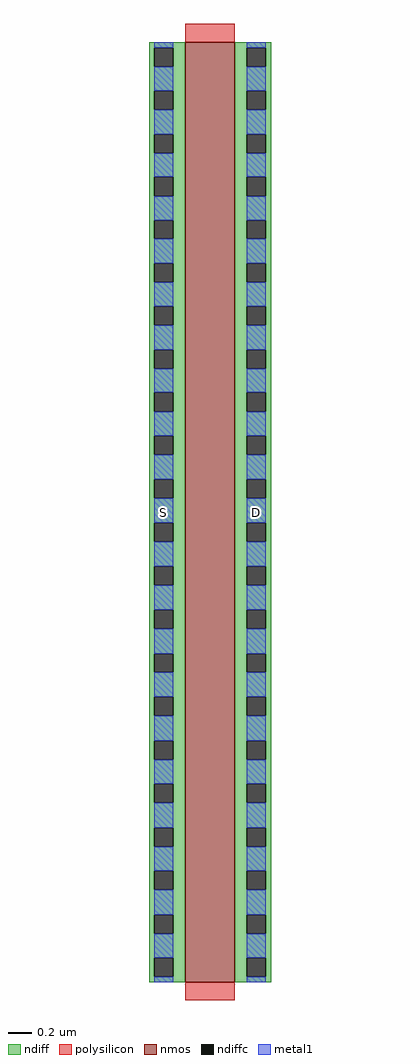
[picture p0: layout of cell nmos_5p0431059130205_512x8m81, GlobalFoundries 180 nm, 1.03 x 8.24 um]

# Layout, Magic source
magic
tech gf180mcuD
magscale 1 10
<< nmos >>
rect 0 0 84 1587
<< ndiff >>
rect -61 1578 0 1587
rect -61 1546 -52 1578
rect -20 1546 0 1578
rect -61 1505 0 1546
rect -61 1473 -52 1505
rect -20 1473 0 1505
rect -61 1432 0 1473
rect -61 1400 -52 1432
rect -20 1400 0 1432
rect -61 1360 0 1400
rect -61 1327 -52 1360
rect -20 1327 0 1360
rect -61 1287 0 1327
rect -61 1255 -52 1287
rect -20 1255 0 1287
rect -61 1214 0 1255
rect -61 1182 -52 1214
rect -20 1182 0 1214
rect -61 1141 0 1182
rect -61 1109 -52 1141
rect -20 1109 0 1141
rect -61 1068 0 1109
rect -61 1036 -52 1068
rect -20 1036 0 1068
rect -61 996 0 1036
rect -61 963 -52 996
rect -20 963 0 996
rect -61 923 0 963
rect -61 891 -52 923
rect -20 891 0 923
rect -61 849 0 891
rect -61 817 -52 849
rect -20 817 0 849
rect -61 776 0 817
rect -61 744 -52 776
rect -20 744 0 776
rect -61 702 0 744
rect -61 670 -52 702
rect -20 670 0 702
rect -61 629 0 670
rect -61 597 -52 629
rect -20 597 0 629
rect -61 555 0 597
rect -61 523 -52 555
rect -20 523 0 555
rect -61 482 0 523
rect -61 450 -52 482
rect -20 450 0 482
rect -61 408 0 450
rect -61 376 -52 408
rect -20 376 0 408
rect -61 335 0 376
rect -61 303 -52 335
rect -20 303 0 335
rect -61 261 0 303
rect -61 229 -52 261
rect -20 229 0 261
rect -61 188 0 229
rect -61 156 -52 188
rect -20 156 0 188
rect -61 114 0 156
rect -61 82 -52 114
rect -20 82 0 114
rect -61 41 0 82
rect -61 9 -52 41
rect -20 9 0 41
rect -61 0 0 9
rect 84 1578 145 1587
rect 84 1546 104 1578
rect 136 1546 145 1578
rect 84 1505 145 1546
rect 84 1473 104 1505
rect 136 1473 145 1505
rect 84 1432 145 1473
rect 84 1400 104 1432
rect 136 1400 145 1432
rect 84 1360 145 1400
rect 84 1327 104 1360
rect 136 1327 145 1360
rect 84 1287 145 1327
rect 84 1255 104 1287
rect 136 1255 145 1287
rect 84 1214 145 1255
rect 84 1182 104 1214
rect 136 1182 145 1214
rect 84 1141 145 1182
rect 84 1109 104 1141
rect 136 1109 145 1141
rect 84 1068 145 1109
rect 84 1036 104 1068
rect 136 1036 145 1068
rect 84 996 145 1036
rect 84 963 104 996
rect 136 963 145 996
rect 84 923 145 963
rect 84 891 104 923
rect 136 891 145 923
rect 84 849 145 891
rect 84 817 104 849
rect 136 817 145 849
rect 84 776 145 817
rect 84 744 104 776
rect 136 744 145 776
rect 84 702 145 744
rect 84 670 104 702
rect 136 670 145 702
rect 84 629 145 670
rect 84 597 104 629
rect 136 597 145 629
rect 84 555 145 597
rect 84 523 104 555
rect 136 523 145 555
rect 84 482 145 523
rect 84 450 104 482
rect 136 450 145 482
rect 84 408 145 450
rect 84 376 104 408
rect 136 376 145 408
rect 84 335 145 376
rect 84 303 104 335
rect 136 303 145 335
rect 84 261 145 303
rect 84 229 104 261
rect 136 229 145 261
rect 84 188 145 229
rect 84 156 104 188
rect 136 156 145 188
rect 84 114 145 156
rect 84 82 104 114
rect 136 82 145 114
rect 84 41 145 82
rect 84 9 104 41
rect 136 9 145 41
rect 84 0 145 9
<< ndiffc >>
rect -52 1546 -20 1578
rect -52 1473 -20 1505
rect -52 1400 -20 1432
rect -52 1327 -20 1360
rect -52 1255 -20 1287
rect -52 1182 -20 1214
rect -52 1109 -20 1141
rect -52 1036 -20 1068
rect -52 963 -20 996
rect -52 891 -20 923
rect -52 817 -20 849
rect -52 744 -20 776
rect -52 670 -20 702
rect -52 597 -20 629
rect -52 523 -20 555
rect -52 450 -20 482
rect -52 376 -20 408
rect -52 303 -20 335
rect -52 229 -20 261
rect -52 156 -20 188
rect -52 82 -20 114
rect -52 9 -20 41
rect 104 1546 136 1578
rect 104 1473 136 1505
rect 104 1400 136 1432
rect 104 1327 136 1360
rect 104 1255 136 1287
rect 104 1182 136 1214
rect 104 1109 136 1141
rect 104 1036 136 1068
rect 104 963 136 996
rect 104 891 136 923
rect 104 817 136 849
rect 104 744 136 776
rect 104 670 136 702
rect 104 597 136 629
rect 104 523 136 555
rect 104 450 136 482
rect 104 376 136 408
rect 104 303 136 335
rect 104 229 136 261
rect 104 156 136 188
rect 104 82 136 114
rect 104 9 136 41
<< polysilicon >>
rect 0 1587 84 1618
rect 0 -30 84 0
<< metal1 >>
rect -52 1578 -20 1587
rect -52 1505 -20 1546
rect -52 1432 -20 1473
rect -52 1360 -20 1400
rect -52 1287 -20 1327
rect -52 1214 -20 1255
rect -52 1141 -20 1182
rect -52 1068 -20 1109
rect -52 996 -20 1036
rect -52 923 -20 963
rect -52 849 -20 891
rect -52 776 -20 817
rect -52 702 -20 744
rect -52 629 -20 670
rect -52 555 -20 597
rect -52 482 -20 523
rect -52 408 -20 450
rect -52 335 -20 376
rect -52 261 -20 303
rect -52 188 -20 229
rect -52 114 -20 156
rect -52 41 -20 82
rect -52 0 -20 9
rect 104 1578 136 1587
rect 104 1505 136 1546
rect 104 1432 136 1473
rect 104 1360 136 1400
rect 104 1287 136 1327
rect 104 1214 136 1255
rect 104 1141 136 1182
rect 104 1068 136 1109
rect 104 996 136 1036
rect 104 923 136 963
rect 104 849 136 891
rect 104 776 136 817
rect 104 702 136 744
rect 104 629 136 670
rect 104 555 136 597
rect 104 482 136 523
rect 104 408 136 450
rect 104 335 136 376
rect 104 261 136 303
rect 104 188 136 229
rect 104 114 136 156
rect 104 41 136 82
rect 104 0 136 9
<< labels >>
flabel metal1 -36 793 -36 793 0 FreeSans 140 0 0 0 S
flabel metal1 120 793 120 793 0 FreeSans 140 0 0 0 D
<< end >>
